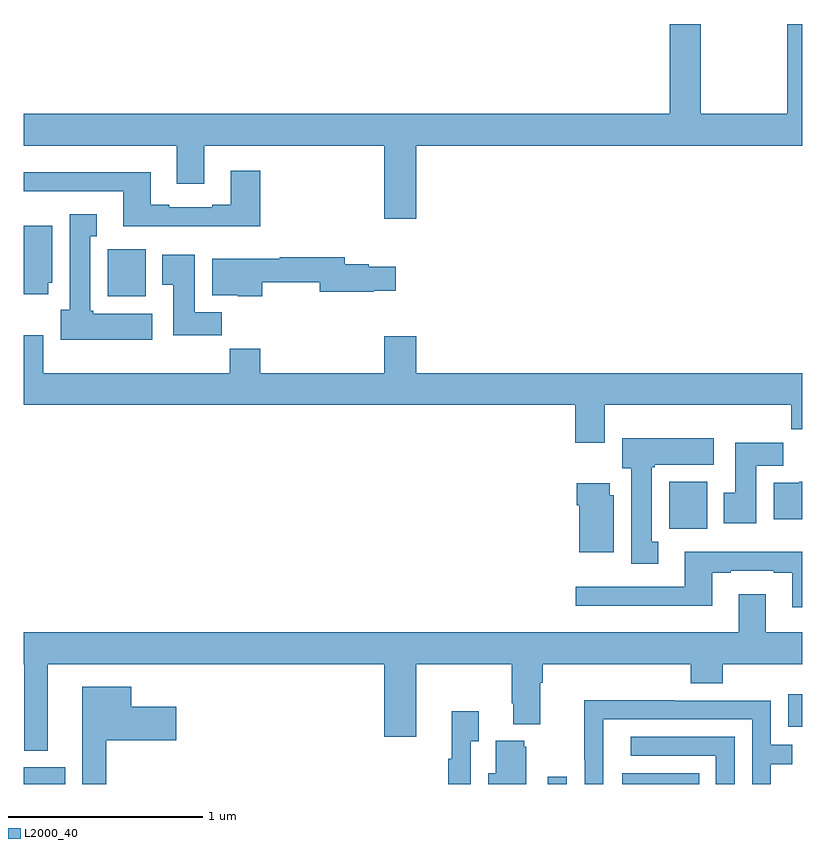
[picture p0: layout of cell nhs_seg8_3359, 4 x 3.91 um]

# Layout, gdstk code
import gdstk
lib = gdstk.Library(unit=1e-6, precision=1e-09)
def R(c, l, rs):  # rectangles x0, y0, x1, y1
    for r in rs: c.add(gdstk.rectangle(r[:2], r[2:], *l))
def P(c, l, *ps):  # polygons
    for p in ps: c.add(gdstk.Polygon(p, *l))
L2000_40 = (2000, 40)

nhs_seg8_3359 = lib.new_cell('nhs_seg8_3359')
R(nhs_seg8_3359, L2000_40, [(319,1099.9,319.213,1099.987), (321.693,1099.9,321.789,1099.936), (322.076,1099.9,322.472,1099.954), (322.929,1100.193,323,1100.362), (322.316,1101.212,322.513,1101.454), (319.43,1102.406,319.627,1102.648)])
P(nhs_seg8_3359, L2000_40, [(321.016,1103.18),(323,1103.18),(323,1103.806),(322.924,1103.806),(322.924,1103.344),(322.479,1103.344),(322.479,1103.806),(322.319,1103.806),(322.319,1103.344),(319,1103.344),(319,1103.18),(319.787,1103.18),(319.787,1102.986),(319.927,1102.986),(319.927,1103.18),(320.852,1103.18),(320.852,1102.806),(321.016,1102.806)],
  [(320.216,1103.053),(320.063,1103.053),(320.063,1102.876),(319.967,1102.876),(319.967,1102.863),(319.747,1102.863),(319.747,1102.876),(319.651,1102.876),(319.651,1103.044),(319,1103.044),(319,1102.947),(319.511,1102.947),(319.511,1102.766),(320.216,1102.766)],
  [(319.66,1102.318),(319.356,1102.318),(319.356,1102.332),(319.342,1102.332),(319.342,1102.715),(319.375,1102.715),(319.375,1102.828),(319.235,1102.828),(319.235,1102.338),(319.19,1102.338),(319.19,1102.184),(319.66,1102.184)],
  [(319.126,1102.476),(319.147,1102.476),(319.147,1102.768),(319,1102.768),(319,1102.416),(319.126,1102.416)],
  [(320.018,1102.324),(319.879,1102.324),(319.879,1102.621),(319.712,1102.621),(319.712,1102.465),(319.769,1102.465),(319.769,1102.206),(320.018,1102.206)],
  [(320.226,1102.479),(320.522,1102.479),(320.522,1102.429),(320.798,1102.429),(320.798,1102.436),(320.911,1102.436),(320.911,1102.558),(320.772,1102.558),(320.772,1102.571),(320.65,1102.571),(320.65,1102.607),(320.314,1102.607),(320.314,1102.6),(319.967,1102.6),(319.967,1102.412),(320.1,1102.412),(320.1,1102.406),(320.226,1102.406)],
  [(321.016,1102.201),(320.852,1102.201),(320.852,1102.012),(320.216,1102.012),(320.216,1102.136),(320.059,1102.136),(320.059,1102.012),(319.099,1102.012),(319.099,1102.207),(319,1102.207),(319,1101.848),(321.833,1101.848),(321.833,1101.654),(321.985,1101.654),(321.985,1101.848),(322.945,1101.848),(322.945,1101.724),(323,1101.724),(323,1102.012),(321.016,1102.012)],
  [(322.261,1101.146),(322.228,1101.146),(322.228,1101.529),(322.242,1101.529),(322.242,1101.542),(322.546,1101.542),(322.546,1101.676),(322.076,1101.676),(322.076,1101.522),(322.121,1101.522),(322.121,1101.033),(322.261,1101.033)],
  [(322.765,1101.536),(322.904,1101.536),(322.904,1101.655),(322.655,1101.655),(322.655,1101.396),(322.598,1101.396),(322.598,1101.24),(322.765,1101.24)],
  [(323,1101.454),(322.986,1101.454),(322.986,1101.448),(322.853,1101.448),(322.853,1101.26),(323,1101.26)],
  [(322.033,1101.384),(322.012,1101.384),(322.012,1101.445),(321.842,1101.445),(321.842,1101.332),(321.854,1101.332),(321.854,1101.092),(322.033,1101.092)],
  [(323,1101.094),(322.397,1101.094),(322.397,1100.913),(321.837,1100.913),(321.837,1100.816),(322.537,1100.816),(322.537,1100.985),(322.633,1100.985),(322.633,1100.997),(322.853,1100.997),(322.853,1100.985),(322.949,1100.985),(322.949,1100.808),(323,1100.808)],
  [(319.123,1100.516),(320.852,1100.516),(320.852,1100.142),(321.016,1100.142),(321.016,1100.516),(321.508,1100.516),(321.508,1100.314),(321.515,1100.314),(321.515,1100.207),(321.655,1100.207),(321.655,1100.42),(321.668,1100.42),(321.668,1100.516),(322.427,1100.516),(322.427,1100.417),(322.592,1100.417),(322.592,1100.516),(323,1100.516),(323,1100.68),(322.813,1100.68),(322.813,1100.875),(322.673,1100.875),(322.673,1100.68),(319,1100.68),(319,1100.516),(319.002,1100.516),(319.002,1100.072),(319.123,1100.072)],
  [(319.423,1100.126),(319.783,1100.126),(319.783,1100.296),(319.552,1100.296),(319.552,1100.401),(319.301,1100.401),(319.301,1099.9),(319.423,1099.9)],
  [(321.978,1100.017),(321.979,1100.017),(321.979,1100.232),(322.743,1100.232),(322.743,1099.9),(322.839,1099.9),(322.839,1100.002),(322.949,1100.002),(322.949,1100.103),(322.839,1100.103),(322.839,1100.328),(322.343,1100.328),(322.343,1100.33),(321.88,1100.33),(321.88,1100.023),(321.882,1100.023),(321.882,1099.9),(321.978,1099.9)],
  [(321.297,1100.119),(321.337,1100.119),(321.337,1100.275),(321.2,1100.275),(321.2,1100.03),(321.181,1100.03),(321.181,1099.9),(321.297,1099.9)],
  [(322.653,1100.142),(322.119,1100.142),(322.119,1100.046),(322.557,1100.046),(322.557,1099.9),(322.653,1099.9)],
  [(321.583,1100.091),(321.572,1100.091),(321.572,1100.122),(321.425,1100.122),(321.425,1099.954),(321.386,1099.954),(321.386,1099.9),(321.583,1099.9)])

lib.write_gds('nhs_seg8_3359.gds')
